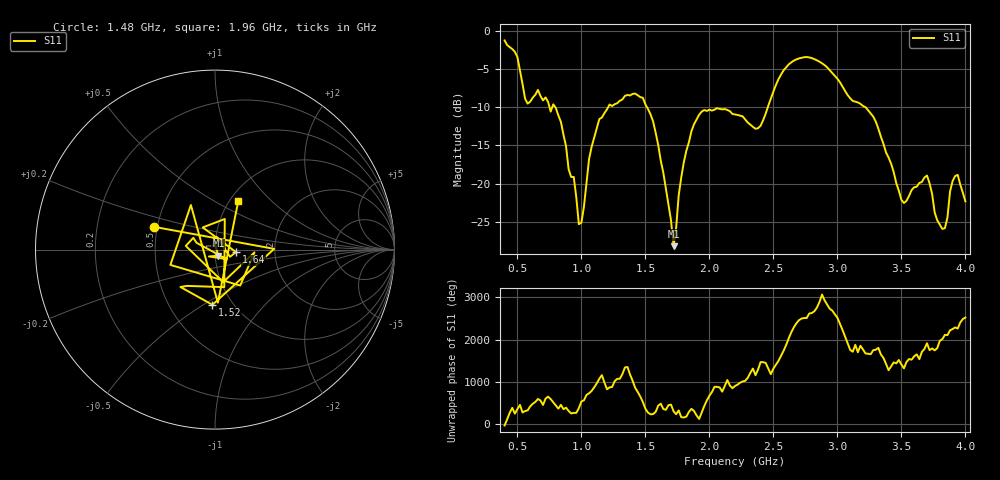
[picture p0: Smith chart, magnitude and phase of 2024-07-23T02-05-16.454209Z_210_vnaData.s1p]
!Created with skrf (http://scikit-rf.org).
# Hz S RI R 50.0
!freq ReS11 ImS11
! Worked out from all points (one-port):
!   181 points, 400 MHz to 4 GHz, reference 50 ohm
!   lowest |S11| = -28.2 dB at 1.72 GHz (marker M1), VSWR 1.08, Z = 51.8 - j3.52 ohm
!   |S11| at or under -10 dB: 796 MHz to 1.209 GHz (412.9 MHz wide, 41.2 % of centre); 1.512 GHz to 2.456 GHz (944.2 MHz wide, 47.6 % of centre); 3.22 GHz to end of sweep (the widest 3 of 4)
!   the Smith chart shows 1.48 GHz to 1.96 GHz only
!   S11 on the Smith chart (normalised r, x): 1.48 GHz: 0.48, +0.14; 1.52 GHz: 0.81, -0.55; 1.64 GHz: 1.26, -0.04; 1.96 GHz: 1.09, +0.66
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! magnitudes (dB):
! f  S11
! 400 MHz  -1.3
! 500 MHz  -3.4
! 580 MHz  -9.5
! 660 MHz  -7.7
! 860 MHz  -13.6
! 1 GHz  -25.1
! 1.06 GHz  -16.8
! 1.14 GHz  -11.6
! 1.3 GHz  -9.2
! 1.48 GHz  -8.8
! 1.52 GHz  -10.2
! 1.64 GHz  -18.6
! 1.72 GHz  -28.2
! 1.76 GHz  -21.6
! 1.86 GHz  -13.1
! 1.96 GHz  -10.4
! 2.2 GHz  -11.0
! 2.38 GHz  -12.8
! 2.66 GHz  -3.9
! 2.88 GHz  -4.3
! 3.1 GHz  -8.8
! 3.28 GHz  -11.2
! 3.5 GHz  -22.1
! 3.56 GHz  -21.6
! 3.7 GHz  -19.0
! 3.82 GHz  -26.0
! 3.92 GHz  -19.0
! 4 GHz  -22.3
